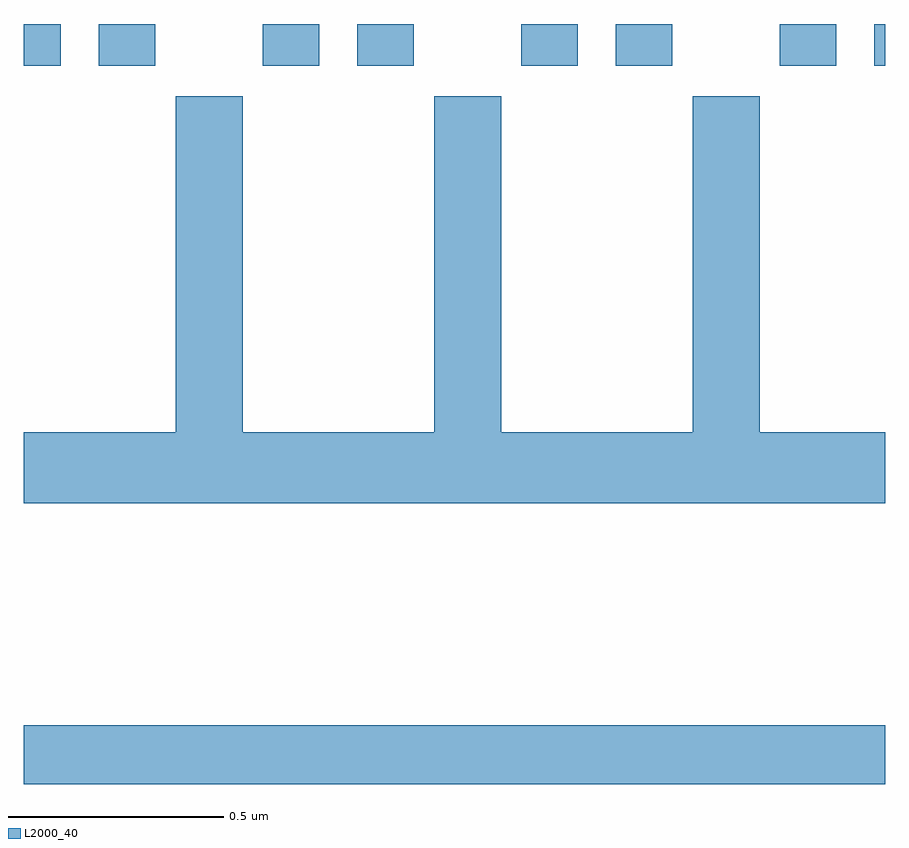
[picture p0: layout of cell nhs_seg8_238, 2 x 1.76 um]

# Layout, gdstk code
import gdstk
lib = gdstk.Library(unit=1e-6, precision=1e-09)
def R(c, l, rs):  # rectangles x0, y0, x1, y1
    for r in rs: c.add(gdstk.rectangle(r[:2], r[2:], *l))
def P(c, l, *ps):  # polygons
    for p in ps: c.add(gdstk.Polygon(p, *l))
L2000_40 = (2000, 40)

nhs_seg8_238 = lib.new_cell('nhs_seg8_238')
R(nhs_seg8_238, L2000_40, [(113,1161.136,115,1161.272), (113,1162.803,113.086,1162.9), (113.174,1162.803,113.305,1162.9), (113.555,1162.803,113.686,1162.9), (113.774,1162.803,113.905,1162.9), (114.155,1162.803,114.286,1162.9), (114.374,1162.803,114.505,1162.9), (114.755,1162.803,114.886,1162.9), (114.974,1162.803,115,1162.9)])
P(nhs_seg8_238, L2000_40, [(115,1161.952),(114.708,1161.952),(114.708,1162.732),(114.553,1162.732),(114.553,1161.952),(114.108,1161.952),(114.108,1162.732),(113.953,1162.732),(113.953,1161.952),(113.508,1161.952),(113.508,1162.732),(113.353,1162.732),(113.353,1161.952),(113,1161.952),(113,1161.788),(115,1161.788)])

lib.write_gds('nhs_seg8_238.gds')
